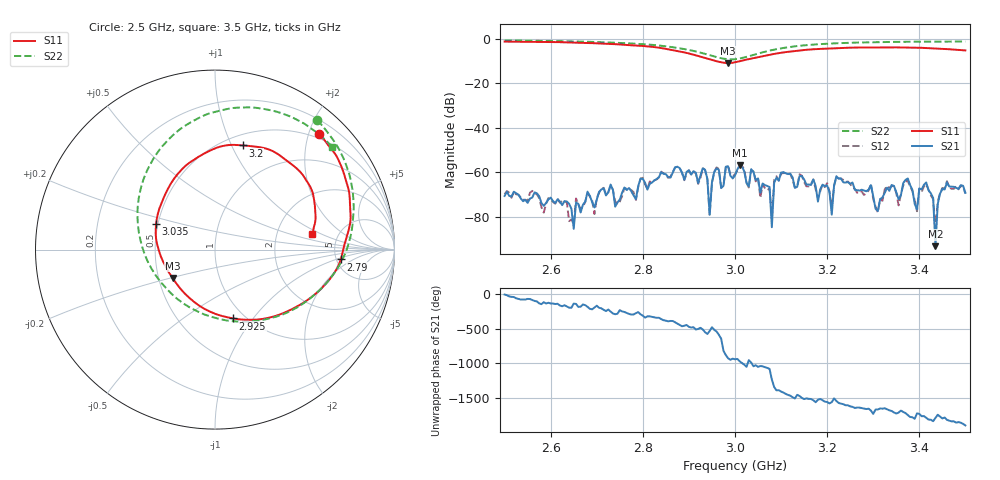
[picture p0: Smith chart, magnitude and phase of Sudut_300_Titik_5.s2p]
# Hz S RI R 50
! CMT, C1220, 16058040, 17.2.0/1
! Date: 15/08/2018 10:27:35
! Data: Format (Calibration Info)
! Freq  S11: Re/Im (F2)  S21: Re/Im (F2)  S12: Re/Im (F2)  S22: Re/Im (F2)
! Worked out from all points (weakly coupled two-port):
!   201 points, 2.5 GHz to 3.5 GHz, reference 50 ohm
!   highest |S21| = -56.90 dB at 3.01 GHz (marker M1); lowest = -93.2 dB at 3.435 GHz (marker M2)
!   lowest |S11| = -10.9 dB at 2.985 GHz (marker M3), VSWR 1.80, Z = 29.6 - j10.2 ohm
!   |S11| at or under -10 dB: 2.959 GHz to 3.012 GHz (52.93 MHz wide, 1.77 % of centre)
!   |S22| runs from -9.2 to -0.7 dB; largest |S21 - S12| = 0.00015
!   S11 on the Smith chart (normalised r, x): 2.5 GHz: 0.43, +2.18; 2.79 GHz: 5.45, -1.18; 2.925 GHz: 0.88, -0.80; 3.035 GHz: 0.49, +0.16; 3.2 GHz: 0.61, +1.10; 3.5 GHz: 3.22, +0.78
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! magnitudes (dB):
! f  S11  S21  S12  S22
! 2.5 GHz  -1.3  -70.7  -69.9  -0.7
! 2.67 GHz  -1.8  -74.6  -75.5  -1.3
! 2.79 GHz  -3.1  -66.1  -66.7  -2.3
! 2.835 GHz  -4.0  -62.1  -62.3  -3.0
! 2.925 GHz  -8.0  -61.5  -62.6  -6.2
! 2.945 GHz  -9.2  -79.1  -79.4  -7.4
! 2.955 GHz  -9.8  -59.8  -59.8  -7.9
! 2.985 GHz  -10.9  -57.3  -57.0  -9.2
! 3 GHz  -10.5  -61.4  -60.9  -9.2
! 3.01 GHz  -10.1  -56.9  -57.4  -8.9
! 3.035 GHz  -8.9  -58.6  -59.0  -7.5
! 3.08 GHz  -7.0  -84.7  -80.2  -5.1
! 3.09 GHz  -6.6  -62.4  -61.8  -4.7
! 3.17 GHz  -4.7  -63.2  -63.2  -2.6
! 3.2 GHz  -4.4  -66.0  -64.9  -2.2
! 3.21 GHz  -4.3  -79.1  -75.7  -2.1
! 3.22 GHz  -4.2  -61.8  -62.3  -2.0
! 3.31 GHz  -3.9  -77.5  -78.1  -1.5
! 3.335 GHz  -3.8  -68.4  -66.9  -1.4
! 3.415 GHz  -4.2  -64.6  -65.3  -1.3
! 3.435 GHz  -4.4  -93.2  -85.2  -1.3
! 3.5 GHz  -5.2  -69.2  -69.6  -1.2
